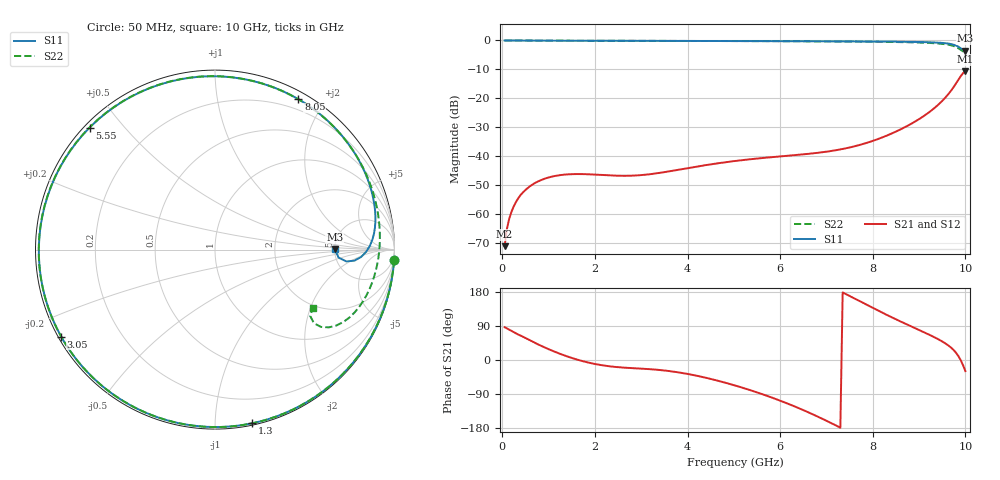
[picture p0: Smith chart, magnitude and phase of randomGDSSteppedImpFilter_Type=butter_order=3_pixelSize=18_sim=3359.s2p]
! freq	dB(S11)	phase(S11)	dB(S12)	phase(S12)
!  dB(S21)	phase(S21)	dB(S22)	phase(S22)
!S-par simulation data
#  GHz  S  DB  R 50
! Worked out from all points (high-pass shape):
!   200 points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, 50 MHz to 10 GHz, reference 50 ohm
!   highest |S21| = -10.59 dB at 10 GHz (marker M1); lowest = -71.0 dB at 50 MHz (marker M2)
!   |S21| within 3 dB of the highest: 9.849 GHz to end of sweep
!   lowest |S11| = -3.5 dB at 10 GHz (marker M3), VSWR 5.01, Z = 251 + j2.21 ohm
!   |S11| at or under -10 dB: nowhere
!   |S22| runs from -3.9 to 0.0 dB; largest |S21 - S12| = 0
!   S11 on the Smith chart (normalised r, x): 50 MHz: 0, -35; 1.3 GHz: 0.01, -1.24; 3.05 GHz: 0.01, -0.26; 5.55 GHz: 0.01, +0.41; 8.05 GHz: 0.08, +1.70; 10 GHz: 5.01, +0.04
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0.05  -0.00 -3.3  -71.05 86.7  -71.05 86.7  -0.00 -3.4
0.1  -0.01 -6.5  -65.04 83.3  -65.04 83.3  -0.01 -6.8
0.15  -0.01 -9.8  -61.55 80.0  -61.55 80.0  -0.01 -10.2
0.25  -0.02 -16.2  -57.20 73.3  -57.20 73.3  -0.03 -16.9
0.4  -0.03 -25.7  -53.28 64.1  -53.28 64.1  -0.04 -26.9
0.85  -0.07 -53.0  -48.13 36.7  -48.13 36.7  -0.07 -55.5
1.3  -0.09 -77.8  -46.41 13.9  -46.41 13.9  -0.09 -81.2
1.75  -0.11 -99.8  -46.16 -3.5  -46.16 -3.5  -0.11 -104.0
2.4  -0.12 -127.2  -46.67 -17.8  -46.67 -17.8  -0.12 -132.2
3.05  -0.14 -150.5  -46.43 -23.1  -46.43 -23.1  -0.14 -156.3
3.4  -0.15 -162.0  -45.73 -26.4  -45.73 -26.4  -0.15 -168.2
4.2  -0.17 173.9  -43.56 -41.6  -43.56 -41.6  -0.17 166.5
5.05  -0.20 149.8  -41.58 -68.1  -41.58 -68.1  -0.21 140.8
5.55  -0.22 135.7  -40.70 -87.5  -40.70 -87.5  -0.23 125.7
6.7  -0.28 102.8  -39.01 -143.1  -39.01 -143.1  -0.30 89.4
7.4  -0.32 81.6  -37.31 175.2  -37.31 175.2  -0.36 65.6
8.05  -0.37 61.0  -34.41 134.3  -34.41 134.3  -0.45 41.8
8.35  -0.40 51.1  -32.54 116.2  -32.54 116.2  -0.51 30.2
8.9  -0.50 32.3  -28.14 84.7  -28.14 84.7  -0.67 7.8
9.4  -0.74 13.8  -22.40 55.7  -22.40 55.7  -1.03 -14.5
9.8  -1.77 -2.9  -14.81 18.8  -14.81 18.8  -2.29 -34.3
10  -3.51 0.2  -10.59 -29.4  -10.59 -29.4  -3.95 -30.8
